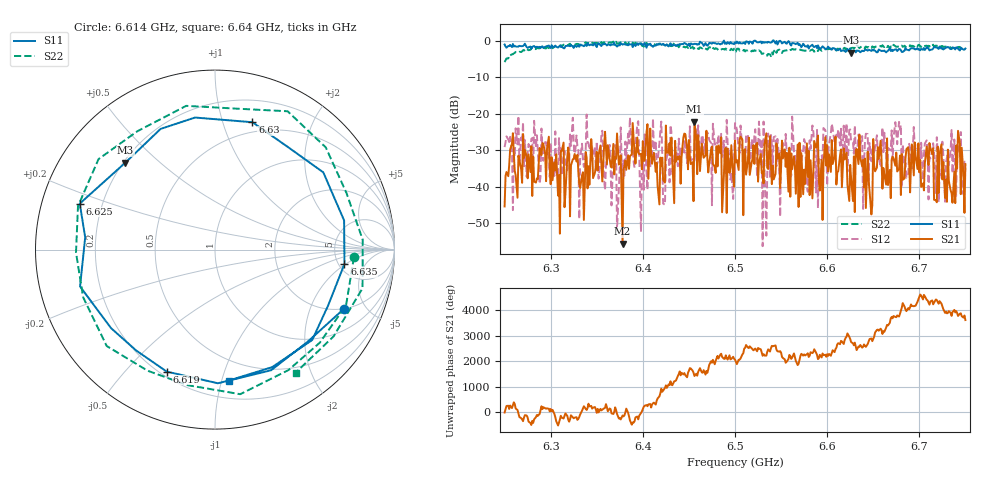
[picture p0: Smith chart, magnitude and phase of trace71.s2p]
# Hz S RI R 50
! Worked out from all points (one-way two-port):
!   401 points, 6.25 GHz to 6.75 GHz, reference 50 ohm
!   highest |S21| = -22.15 dB at 6.456 GHz (marker M1); lowest = -55.7 dB at 6.378 GHz (marker M2)
!   lowest |S11| = -3.2 dB at 6.626 GHz (marker M3), VSWR 5.57, Z = 10.4 + j19.5 ohm
!   |S11| at or under -10 dB: nowhere
!   |S22| runs from -5.8 to -0.1 dB; largest |S21 - S12| = 0.12
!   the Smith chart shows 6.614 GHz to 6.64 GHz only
!   S11 on the Smith chart (normalised r, x): 6.614 GHz: 1.98, -3.49; 6.619 GHz: 0.22, -0.66; 6.625 GHz: 0.12, +0.16; 6.63 GHz: 0.40, +1.26; 6.635 GHz: 5.63, -1.91; 6.64 GHz: 0.33, -1.06
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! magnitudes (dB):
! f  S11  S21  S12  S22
! 6.25 GHz  -0.9  -45.5  -29.1  -5.8
! 6.258 GHz  -1.6  -28.2  -30.1  -3.6
! 6.334 GHz  -1.2  -36.9  -28.2  -0.9
! 6.36 GHz  -0.9  -29.5  -34.3  -0.4
! 6.378 GHz  -0.9  -55.7  -41.2  -0.6
! 6.391 GHz  -0.9  -31.0  -34.8  -0.7
! 6.418 GHz  -0.9  -44.9  -27.9  -0.7
! 6.456 GHz  -0.7  -22.1  -32.9  -1.9
! 6.5 GHz  -0.3  -27.3  -22.5  -2.7
! 6.524 GHz  -0.3  -28.0  -37.3  -2.7
! 6.532 GHz  -0.4  -28.4  -34.5  -3.8
! 6.541 GHz  0.2  -34.3  -34.4  -3.7
! 6.584 GHz  -1.0  -43.2  -23.2  -2.3
! 6.614 GHz  -2.0  -31.4  -28.7  -2.2
! 6.619 GHz  -2.7  -32.5  -27.8  -1.7
! 6.625 GHz  -2.0  -34.0  -24.3  -2.2
! 6.626 GHz  -3.2  -37.7  -27.6  -1.9
! 6.63 GHz  -2.6  -47.0  -23.2  -1.8
! 6.635 GHz  -2.8  -25.8  -25.6  -2.0
! 6.64 GHz  -2.7  -40.2  -33.9  -1.7
! 6.668 GHz  -1.9  -35.4  -29.7  -1.9
! 6.75 GHz  -2.0  -33.8  -35.7  -2.3
